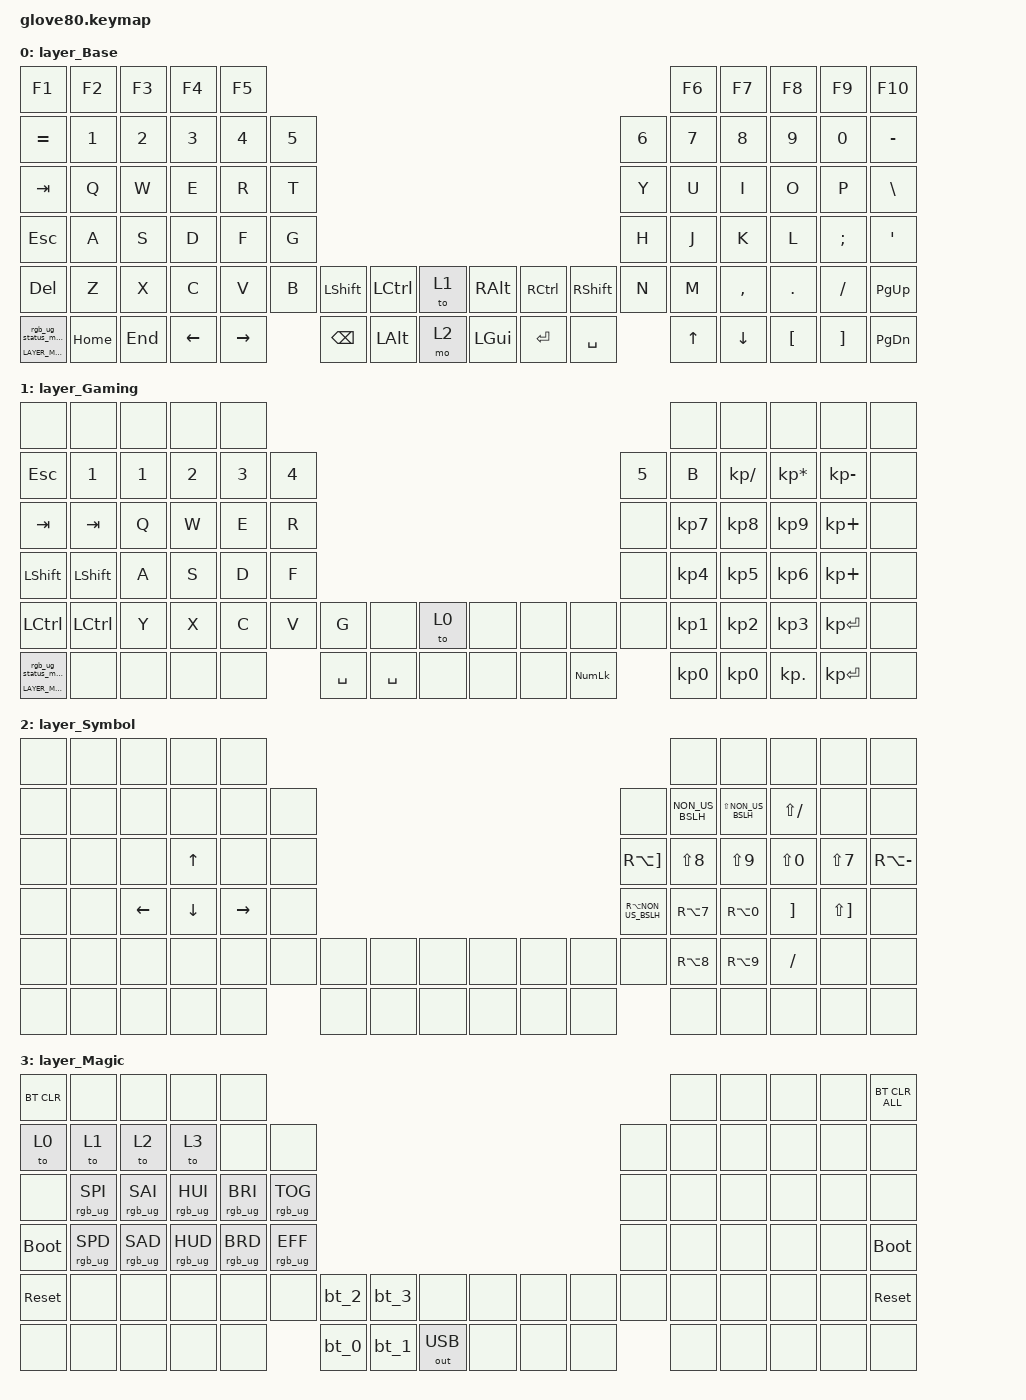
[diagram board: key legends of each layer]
/*
 * Copyright (c) 2020 The ZMK Contributors
 * Copyright (c) 2025 Innaworks Development Limited, trading as MoErgo
 *
 * SPDX-License-Identifier: MIT
 */


/* THIS FILE WAS GENERATED BY GLOVE80 LAYOUT EDITOR
 *
 * This file was generated automatically. You may or may not want to
 * edit it directly.
 */

#include <behaviors.dtsi>
/* Include all behavior includes needed */
#include <dt-bindings/zmk/outputs.h>
#include <dt-bindings/zmk/keys.h>
#include <dt-bindings/zmk/bt.h>
#include <dt-bindings/zmk/rgb.h>

/* On demand includes */


/* Automatically generated layer name #define */
#define LAYER_Base 0
#define LAYER_Gaming 1
#define LAYER_Symbol 2
#define LAYER_Magic 3

/* To deal with the situation where there is no Lower layer, to keep &lower happy */
#ifndef LAYER_Lower
#define LAYER_Lower 0
#endif

/* Custom Device-tree */


/* Input Listeners */


/* System behavior and Macros */
/ {
    behaviors {
        // For the "layer" key, it'd nice to be able to use it as either a shift or a toggle.
        // Configure it as a tap dance, so the first tap (or hold) is a &mo and the second tap is a &to
        lower: lower {
            compatible = "zmk,behavior-tap-dance";
            label = "LAYER_TAP_DANCE";
            #binding-cells = <0>;
            tapping-term-ms = <200>;
            bindings = <&mo LAYER_Lower>, <&to LAYER_Lower>;
        };
    };
};

/ {
    macros {
        rgb_ug_status_macro: rgb_ug_status_macro {
            label = "RGB_UG_STATUS";
            compatible = "zmk,behavior-macro";
            #binding-cells = <0>;
            bindings
                = <&rgb_ug RGB_STATUS>;
        };
    };
};


/ {
#ifdef BT_DISC_CMD
    behaviors {
        bt_0: bt_0 {
            compatible = "zmk,behavior-tap-dance";
            label = "BT_0";
            #binding-cells = <0>;
            tapping-term-ms = <200>;
            bindings = <&bt_select_0>, <&bt BT_DISC 0>;
        };
        bt_1: bt_1 {
            compatible = "zmk,behavior-tap-dance";
            label = "BT_1";
            #binding-cells = <0>;
            tapping-term-ms = <200>;
            bindings = <&bt_select_1>, <&bt BT_DISC 1>;
        };
        bt_2: bt_2 {
            compatible = "zmk,behavior-tap-dance";
            label = "BT_2";
            #binding-cells = <0>;
            tapping-term-ms = <200>;
            bindings = <&bt_select_2>, <&bt BT_DISC 2>;
        };
        bt_3: bt_3 {
            compatible = "zmk,behavior-tap-dance";
            label = "BT_3";
            #binding-cells = <0>;
            tapping-term-ms = <200>;
            bindings = <&bt_select_3>, <&bt BT_DISC 3>;
        };
    };
    macros {
        bt_select_0: bt_select_0 {
            label = "BT_SELECT_0";
            compatible = "zmk,behavior-macro";
            #binding-cells = <0>;
            bindings
                = <&out OUT_BLE>,
                  <&bt BT_SEL 0>;
        };
        bt_select_1: bt_select_1 {
            label = "BT_SELECT_1";
            compatible = "zmk,behavior-macro";
            #binding-cells = <0>;
            bindings
                = <&out OUT_BLE>,
                  <&bt BT_SEL 1>;
        };
        bt_select_2: bt_select_2 {
            label = "BT_SELECT_2";
            compatible = "zmk,behavior-macro";
            #binding-cells = <0>;
            bindings
                = <&out OUT_BLE>,
                  <&bt BT_SEL 2>;
        };
        bt_select_3: bt_select_3 {
            label = "BT_SELECT_3";
            compatible = "zmk,behavior-macro";
            #binding-cells = <0>;
            bindings
                = <&out OUT_BLE>,
                  <&bt BT_SEL 3>;
        };
    };
#else
    macros {
        bt_0: bt_0 {
            label = "BT_0";
            compatible = "zmk,behavior-macro";
            #binding-cells = <0>;
            bindings
                = <&out OUT_BLE>,
                  <&bt BT_SEL 0>;
        };
        bt_1: bt_1 {
            label = "BT_1";
            compatible = "zmk,behavior-macro";
            #binding-cells = <0>;
            bindings
                = <&out OUT_BLE>,
                  <&bt BT_SEL 1>;
        };
        bt_2: bt_2 {
            label = "BT_2";
            compatible = "zmk,behavior-macro";
            #binding-cells = <0>;
            bindings
                = <&out OUT_BLE>,
                  <&bt BT_SEL 2>;
        };
        bt_3: bt_3 {
            label = "BT_3";
            compatible = "zmk,behavior-macro";
            #binding-cells = <0>;
            bindings
                = <&out OUT_BLE>,
                  <&bt BT_SEL 3>;
        };
    };
#endif
};

/ {
    behaviors {
        magic: magic {
            compatible = "zmk,behavior-hold-tap";
            label = "MAGIC_HOLD_TAP";
            #binding-cells = <2>;
            flavor = "tap-preferred";
            tapping-term-ms = <200>;
            bindings = <&mo>, <&rgb_ug_status_macro>;
        };
    };
};

/* #define for key positions */
#define POS_LH_T1 52
#define POS_LH_T2 53
#define POS_LH_T3 54
#define POS_LH_T4 69
#define POS_LH_T5 70
#define POS_LH_T6 71
#define POS_LH_C1R2 15
#define POS_LH_C1R3 27
#define POS_LH_C1R4 39
#define POS_LH_C1R5 51
#define POS_LH_C2R1 4
#define POS_LH_C2R2 14
#define POS_LH_C2R3 26
#define POS_LH_C2R4 38
#define POS_LH_C2R5 50
#define POS_LH_C2R6 68
#define POS_LH_C3R1 3
#define POS_LH_C3R2 13
#define POS_LH_C3R3 25
#define POS_LH_C3R4 37
#define POS_LH_C3R5 49
#define POS_LH_C3R6 67
#define POS_LH_C4R1 2
#define POS_LH_C4R2 12
#define POS_LH_C4R3 24
#define POS_LH_C4R4 36
#define POS_LH_C4R5 48
#define POS_LH_C4R6 66
#define POS_LH_C5R1 1
#define POS_LH_C5R2 11
#define POS_LH_C5R3 23
#define POS_LH_C5R4 35
#define POS_LH_C5R5 47
#define POS_LH_C5R6 65
#define POS_LH_C6R1 0
#define POS_LH_C6R2 10
#define POS_LH_C6R3 22
#define POS_LH_C6R4 34
#define POS_LH_C6R5 46
#define POS_LH_C6R6 64
#define POS_RH_T1 57
#define POS_RH_T2 56
#define POS_RH_T3 55
#define POS_RH_T4 74
#define POS_RH_T5 73
#define POS_RH_T6 72
#define POS_RH_C1R2 16
#define POS_RH_C1R3 28
#define POS_RH_C1R4 40
#define POS_RH_C1R5 58
#define POS_RH_C2R1 5
#define POS_RH_C2R2 17
#define POS_RH_C2R3 29
#define POS_RH_C2R4 41
#define POS_RH_C2R5 59
#define POS_RH_C2R6 75
#define POS_RH_C3R1 6
#define POS_RH_C3R2 18
#define POS_RH_C3R3 30
#define POS_RH_C3R4 42
#define POS_RH_C3R5 60
#define POS_RH_C3R6 76
#define POS_RH_C4R1 7
#define POS_RH_C4R2 19
#define POS_RH_C4R3 31
#define POS_RH_C4R4 43
#define POS_RH_C4R5 61
#define POS_RH_C4R6 77
#define POS_RH_C5R1 8
#define POS_RH_C5R2 20
#define POS_RH_C5R3 32
#define POS_RH_C5R4 44
#define POS_RH_C5R5 62
#define POS_RH_C5R6 78
#define POS_RH_C6R1 9
#define POS_RH_C6R2 21
#define POS_RH_C6R3 33
#define POS_RH_C6R4 45
#define POS_RH_C6R5 63
#define POS_RH_C6R6 79

/* Custom Defined Behaviors */
/ {

};

/* Automatically generated macro definitions */
/ {
    macros {

    };
};

/* Automatically generated behavior definitions */
/ {
    behaviors {

    };
};

/* Automatically generated combos definitions */


/* Automatically generated keymap */
/ {
    keymap {
        compatible = "zmk,keymap";


        layer_Base {
            bindings = <
&kp F1                &kp F2    &kp F3   &kp F4    &kp F5                                                                                &kp F6  &kp F7    &kp F8   &kp F9    &kp F10
&kp EQUAL             &kp N1    &kp N2   &kp N3    &kp N4     &kp N5                                                             &kp N6  &kp N7  &kp N8    &kp N9   &kp N0    &kp MINUS
&kp TAB               &kp Q     &kp W    &kp E     &kp R      &kp T                                                              &kp Y   &kp U   &kp I     &kp O    &kp P     &kp BSLH
&kp ESC               &kp A     &kp S    &kp D     &kp F      &kp G                                                              &kp H   &kp J   &kp K     &kp L    &kp SEMI  &kp SQT
&kp DEL               &kp Z     &kp X    &kp C     &kp V      &kp B  &kp LSHFT  &kp LCTRL &to 1  &kp RALT  &kp RCTRL &kp RSHFT   &kp N   &kp M   &kp COMMA &kp DOT  &kp FSLH  &kp PG_UP
&magic LAYER_Magic 0  &kp HOME  &kp END  &kp LEFT  &kp RIGHT         &kp BSPC   &kp LALT  &mo 2  &kp LGUI  &kp RET   &kp SPACE           &kp UP  &kp DOWN  &kp LBKT &kp RBKT  &kp PG_DN
            >;
        };

        layer_Gaming {
            bindings = <
&none                 &none     &none   &none   &none                                                                              &none      &none         &none            &none         &none
&kp ESC               &kp N1    &kp N1  &kp N2  &kp N3  &kp N4                                                            &kp N5   &kp B      &kp KP_SLASH  &kp KP_MULTIPLY  &kp KP_MINUS  &none
&kp TAB               &kp TAB   &kp Q   &kp W   &kp E   &kp R                                                             &none    &kp KP_N7  &kp KP_N8     &kp KP_N9        &kp KP_PLUS   &none
&kp LSHFT             &kp LSHFT &kp A   &kp S   &kp D   &kp F                                                             &none    &kp KP_N4  &kp KP_N5     &kp KP_N6        &kp KP_PLUS   &none
&kp LCTRL             &kp LCTRL &kp Y   &kp X   &kp C   &kp V   &kp G      &none      &to 0   &none   &none  &none        &none    &kp KP_N1  &kp KP_N2     &kp KP_N3        &kp KP_ENTER  &none
&magic LAYER_Magic 0  &none     &none   &none   &none           &kp SPACE  &kp SPACE  &none   &none   &none  &kp KP_NUM            &kp KP_N0  &kp KP_N0     &kp KP_DOT       &kp KP_ENTER  &none
            >;
        };

        layer_Symbol {
            bindings = <
&none   &none  &none     &none     &none                                                                                 &none            &none               &none         &none         &none
&none   &none  &none     &none     &none      &none                                                  &none               &kp NON_US_BSLH  &kp LS(NON_US_BSLH) &kp LS(FSLH)  &none         &none
&none   &none  &none     &kp UP    &none      &none                                                  &kp RA(RBKT)        &kp LS(N8)       &kp LS(N9)          &kp LS(N0)    &kp LS(N7)    &kp RA(MINUS)
&none   &none  &kp LEFT  &kp DOWN  &kp RIGHT  &none                                                  &kp RA(NON_US_BSLH) &kp RA(N7)       &kp RA(N0)          &kp RBKT      &kp LS(RBKT)  &none
&none   &none  &none     &none     &none      &none  &none   &none   &none   &none   &none   &none   &none               &kp RA(N8)       &kp RA(N9)          &kp FSLH      &none         &none
&none   &none  &none     &none     &none             &none   &none   &none   &none   &none   &none                       &none            &none               &none         &none         &none
            >;
        };

        layer_Magic {
            bindings = <
&bt BT_CLR   &none            &none            &none            &none                                                                                           &none   &none   &none   &none  &bt BT_CLR_ALL
&to 0        &to 1            &to 2            &to 3            &none            &none                                                                  &none   &none   &none   &none   &none  &none
&none        &rgb_ug RGB_SPI  &rgb_ug RGB_SAI  &rgb_ug RGB_HUI  &rgb_ug RGB_BRI  &rgb_ug RGB_TOG                                                        &none   &none   &none   &none   &none  &none
&bootloader  &rgb_ug RGB_SPD  &rgb_ug RGB_SAD  &rgb_ug RGB_HUD  &rgb_ug RGB_BRD  &rgb_ug RGB_EFF                                                        &none   &none   &none   &none   &none  &bootloader
&sys_reset   &none            &none            &none            &none            &none            &bt_2   &bt_3  &none          &none   &none   &none   &none   &none   &none   &none   &none  &sys_reset
&none        &none            &none            &none            &none                             &bt_0   &bt_1  &out OUT_USB   &none   &none   &none           &none   &none   &none   &none  &none
            >;
        };

    };
};
